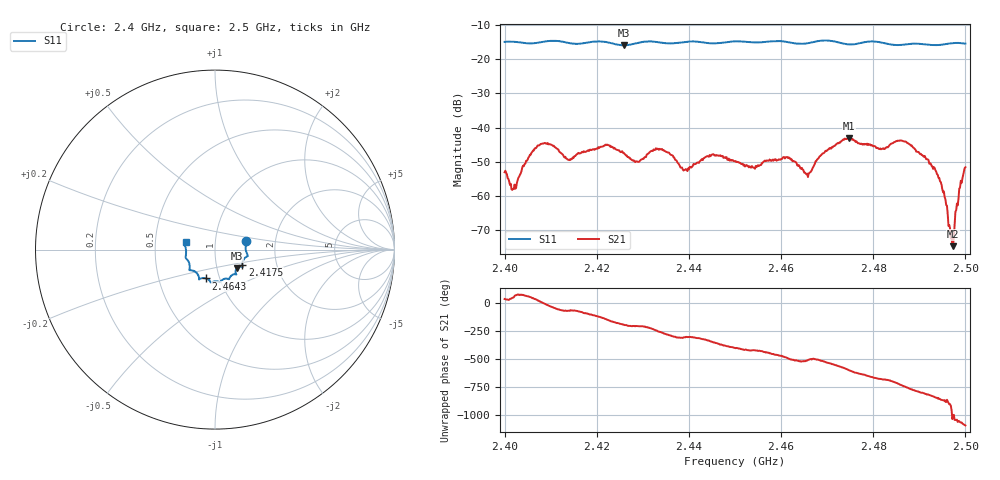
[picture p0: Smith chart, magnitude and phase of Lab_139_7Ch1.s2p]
# Hz S RI R 50
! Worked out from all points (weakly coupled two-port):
!   601 points, 2.4 GHz to 2.5 GHz, reference 50 ohm
!   highest |S21| = -42.98 dB at 2.4747 GHz (marker M1); lowest = -74.7 dB at 2.4973 GHz (marker M2)
!   lowest |S11| = -15.9 dB at 2.4258 GHz (marker M3), VSWR 1.38, Z = 62.3 - j13.3 ohm
!   |S11| at or under -10 dB: start of sweep to end of sweep
!   S12 and S22 are empty: the file has one direction only
!   S11 on the Smith chart (normalised r, x): 2.4 GHz: 1.41, +0.14; 2.4175 GHz: 1.34, -0.23; 2.4643 GHz: 0.86, -0.29; 2.5 GHz: 0.72, +0.06
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2.4e9  0.1733 0.0487  0.0018 0.0013  0 0  0 0
2.402e9  0.1756 0.0407  0.000799 0.000979  0 0  0 0
2.408333e9  0.1788 -0.024  0.00588 2.91e-05  0 0  0 0
2.413833e9  0.1674 -0.0456  0.00127 -0.00314  0 0  0 0
2.416667e9  0.153 -0.0743  0.000735 -0.00426  0 0  0 0
2.4175e9  0.152 -0.0837  5.55e-06 -0.0044  0 0  0 0
2.425833e9  0.1217 -0.1038  -0.00418 0.000948  0 0  0 0
2.428833e9  0.1149 -0.1301  -0.0029 0.00134  0 0  0 0
2.433333e9  0.1129 -0.1371  -0.0013 0.00471  0 0  0 0
2.439167e9  0.0803 -0.1603  0.00145 0.00194  0 0  0 0
2.445e9  0.0557 -0.1618  0.00392 0.00103  0 0  0 0
2.45e9  0.0289 -0.181  0.00248 -0.0021  0 0  0 0
2.464333e9  -0.0498 -0.1608  -0.00237 -0.000789  0 0  0 0
2.466667e9  -0.0759 -0.1595  -0.00192 -0.00142  0 0  0 0
2.474667e9  -0.1031 -0.1292  -0.00369 0.00606  0 0  0 0
2.483333e9  -0.1406 -0.0901  0.00453 0.00276  0 0  0 0
2.487167e9  -0.1563 -0.055  0.00531 -0.00319  0 0  0 0
2.493e9  -0.161 -0.014  -0.000947 -0.0023  0 0  0 0
2.494833e9  -0.1632 0.00817  -0.00118 -0.000845  0 0  0 0
2.496833e9  -0.1691 0.0259  -0.000234 6.55e-05  0 0  0 0
2.497333e9  -0.1703 0.0288  6.05e-05 0.000174  0 0  0 0
2.5e9  -0.164 0.0428  0.00257 -0.000569  0 0  0 0
